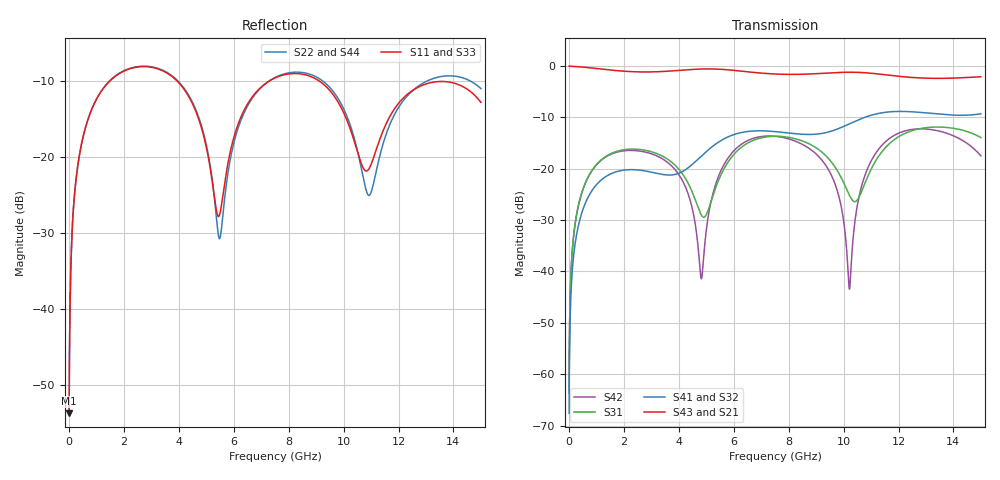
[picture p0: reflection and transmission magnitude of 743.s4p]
! Created with skrf 1.8.0 (http://scikit-rf.org).
# GHz S RI R 50.0
!freq ReS11 ImS11 ReS12 ImS12 ReS13 ImS13
! ReS14 ImS14
! ReS21 ImS21 ReS22 ImS22 ReS23 ImS23
! ReS24 ImS24
! ReS31 ImS31 ReS32 ImS32 ReS33 ImS33
! ReS34 ImS34
! ReS41 ImS41 ReS42 ImS42 ReS43 ImS43
! ReS44 ImS44
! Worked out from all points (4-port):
!   2499 points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, 5 MHz to 15 GHz, reference 50 ohm
!   strongest paths, dB at 5 MHz, 3.476 GHz, 7.19 GHz, 11.1 GHz, 15 GHz:
!     S43: 0.0, -1.0, -1.4, -1.4, -2.1
!     S21: 0.0, -1.0, -1.4, -1.4, -2.1
!     S41: -67.6, -21.2, -12.6, -9.4, -9.3
!     S32: -67.6, -21.2, -12.7, -9.4, -9.4
!     S31: -63.7, -17.8, -13.8, -19.1, -13.9
!     S42: -63.7, -18.3, -13.6, -17.6, -17.5
!   lowest |S11| = -53.7 dB at 5 MHz (marker M1), VSWR 1.00, Z = 50.2 + j0.125 ohm
!   |S11| at or under -10 dB: start of sweep to 1.485 GHz; 3.939 GHz to 7.294 GHz (3.355 GHz wide, 59.7 % of centre); 9.114 GHz to end of sweep
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0.005  0.00164 0.00125  0.9983 -0.0032  8.26e-05 0.00065  -8.02e-05 -0.000408
       0.9983 -0.0032  0.00164 0.00125  -8.02e-05 -0.000408  8.25e-05 0.00065
       8.26e-05 0.00065  -8.02e-05 -0.000408  0.00164 0.00125  0.9983 -0.0032
       -8.02e-05 -0.000408  8.25e-05 0.00065  0.9983 -0.0032  0.00164 0.00125
0.3126303  0.0241 0.0823  0.967 -0.1992  0.0113 0.0385  -0.00921 -0.0239
           0.967 -0.1992  0.0242 0.0822  -0.0092 -0.0239  0.0108 0.0386
           0.0113 0.0385  -0.0092 -0.0239  0.0241 0.0823  0.967 -0.1992
           -0.00921 -0.0239  0.0108 0.0386  0.967 -0.1992  0.0242 0.0822
1.469362  0.254 0.185  0.5822 -0.7098  0.1241 0.0607  -0.0871 -0.0116
          0.5822 -0.7098  0.2562 0.1837  -0.087 -0.0118  0.1175 0.069
          0.1241 0.0607  -0.087 -0.0118  0.254 0.185  0.5822 -0.7097
          -0.0871 -0.0116  0.1175 0.069  0.5822 -0.7097  0.2561 0.1837
5.289704  0.0419 -0.0367  -0.9244 -0.1533  -0.0279 0.0527  -0.0248 0.1682
          -0.9244 -0.1533  0.0306 -0.046  -0.0268 0.1678  0.0106 0.0628
          -0.0279 0.0527  -0.0268 0.1678  0.0428 -0.0363  -0.9244 -0.1534
          -0.0248 0.1682  0.0106 0.0628  -0.9244 -0.1534  0.0296 -0.046
8.528554  0.3469 -0.0462  0.0288 0.8322  0.1538 -0.1035  0.2017 -0.0793
          0.0288 0.8322  0.3546 -0.0565  0.2011 -0.0735  0.1565 -0.0696
          0.1538 -0.1035  0.2011 -0.0735  0.3462 -0.0512  0.0283 0.8328
          0.2017 -0.0793  0.1565 -0.0696  0.0283 0.8328  0.3525 -0.0511
10.2105  0.119 -0.105  0.7251 0.483  -0.0429 -0.035  0.1406 -0.2351
         0.7251 0.483  0.1054 -0.1312  0.1483 -0.2301  -0.0064 -0.00207
         -0.0429 -0.035  0.1483 -0.2301  0.1118 -0.1066  0.7255 0.4833
         0.1406 -0.2351  -0.0064 -0.00207  0.7255 0.4833  0.1092 -0.1254
15  0.1961 -0.1183  -0.349 -0.7051  0.051 -0.1946  -0.2771 0.2023
    -0.349 -0.7051  0.2276 -0.1663  -0.2841 0.188  0.1031 -0.0849
    0.051 -0.1946  -0.2841 0.188  0.1951 -0.124  -0.347 -0.7064
    -0.2771 0.2023  0.1031 -0.0849  -0.347 -0.7064  0.2274 -0.1608
